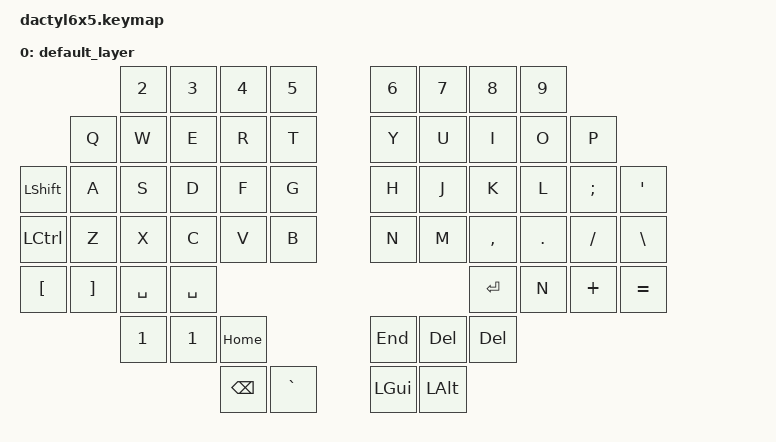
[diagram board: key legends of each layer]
#include <behaviors.dtsi>
#include <dt-bindings/zmk/keys.h>
#include <dt-bindings/zmk/bt.h>
#include <dt-bindings/zmk/outputs.h>

#define DEFAULT 0

/ {
    keymap {
        compatible = "zmk,keymap";

         default_layer {
            bindings = <
                                 &kp N2 &kp N3 &kp N4 &kp N5              &kp N6 &kp N7 &kp N8    &kp N9
                          &kp Q  &kp W  &kp E  &kp R  &kp T               &kp Y  &kp U  &kp I     &kp O   &kp P
                &kp LSHFT &kp A  &kp S  &kp D  &kp F  &kp G               &kp H  &kp J  &kp K     &kp L   &kp SEMI &kp SQT
                &kp LCTRL &kp Z  &kp X  &kp C  &kp V  &kp B               &kp N  &kp M  &kp COMMA &kp DOT &kp FSLH &kp BSLH
                &kp LBKT  &kp RBKT &kp SPACE  &kp SPACE                                   &kp RET   &kp N &kp PLUS &kp EQUAL
                                                   
                                  &kp N1    &kp N1   &kp HOME             &kp END  &kp DEL &kp DEL
                                            &kp BSPC &kp GRAVE            &kp LGUI &kp LALT
            >;
        };
    };
};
